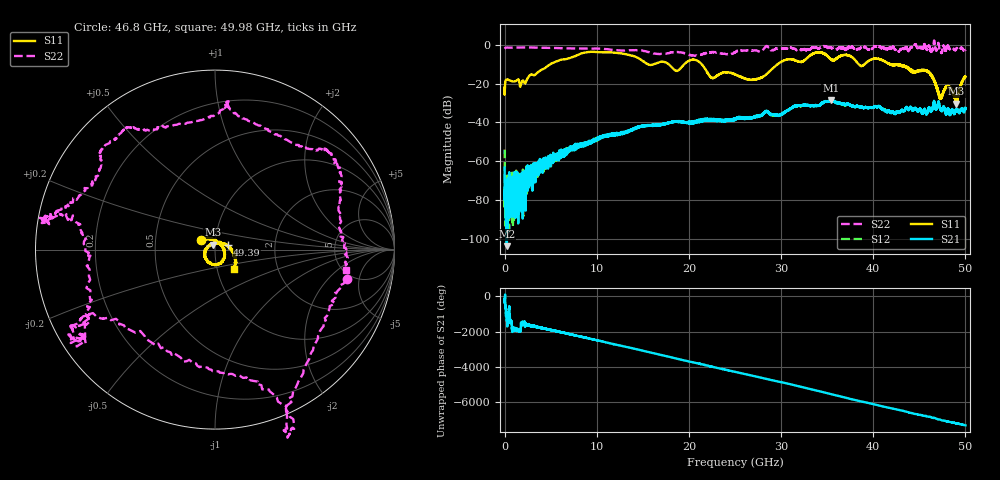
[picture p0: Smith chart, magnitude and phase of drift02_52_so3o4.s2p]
!Created with skrf (http://scikit-rf.org).
# Hz S RI R 50.0
!freq ReS11 ImS11 ReS21 ImS21 ReS12 ImS12 ReS22 ImS22
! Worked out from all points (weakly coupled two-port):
!   10001 points, 300 kHz to 50 GHz, reference 50 ohm
!   highest |S21| = -28.50 dB at 35.38 GHz (marker M1); lowest = -103.9 dB at 245.3 MHz (marker M2)
!   lowest |S11| = -30.3 dB at 49.02 GHz (marker M3), VSWR 1.06, Z = 48.7 + j2.73 ohm
!   |S11| at or under -10 dB: start of sweep to 4.955 GHz; 21.38 GHz to 29.62 GHz (8.244 GHz wide, 32.3 % of centre); 41.82 GHz to end of sweep (the widest 3 of 11)
!   |S22| runs from -5.7 to 2.2 dB; largest |S21 - S12| = 0.0035
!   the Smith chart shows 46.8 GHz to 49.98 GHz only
!   S11 on the Smith chart (normalised r, x): 46.8 GHz: 0.85, +0.10; 49.39 GHz: 1.15, +0.06; 49.98 GHz: 1.20, -0.26
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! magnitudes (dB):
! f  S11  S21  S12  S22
! 300 kHz  -22.1  -63.5  -54.0  -2.1
! 245.3 MHz  -17.9  -103.9  -75.1  -1.4
! 1.875 GHz  -19.0  -73.7  -66.4  -1.3
! 3.84 GHz  -13.4  -61.2  -62.4  -1.5
! 8.335 GHz  -4.5  -51.9  -51.7  -1.9
! 16.67 GHz  -9.1  -41.5  -41.4  -4.7
! 18.7 GHz  -13.5  -39.5  -39.6  -3.7
! 20.6 GHz  -7.7  -39.5  -40.1  -5.7
! 22.51 GHz  -17.1  -38.2  -39.0  -3.7
! 25 GHz  -15.2  -38.1  -38.2  -3.9
! 27.45 GHz  -17.6  -36.7  -36.4  -3.1
! 33.34 GHz  -4.9  -31.4  -31.3  -1.5
! 35.38 GHz  -7.4  -28.5  -28.6  -1.5
! 41.67 GHz  -9.7  -34.3  -34.0  -2.0
! 45.8 GHz  -13.5  -35.6  -35.3  -2.4
! 46.8 GHz  -20.5  -33.0  -33.0  -2.5
! 47.28 GHz  -27.0  -33.3  -33.0  -3.3
! 48.14 GHz  -21.5  -33.9  -33.4  -0.8
! 49.02 GHz  -30.3  -33.9  -33.4  -2.1
! 49.39 GHz  -22.4  -34.3  -34.1  -2.6
! 49.98 GHz  -16.5  -32.7  -33.1  -2.6
! 50 GHz  -16.5  -32.6  -32.9  -2.6
